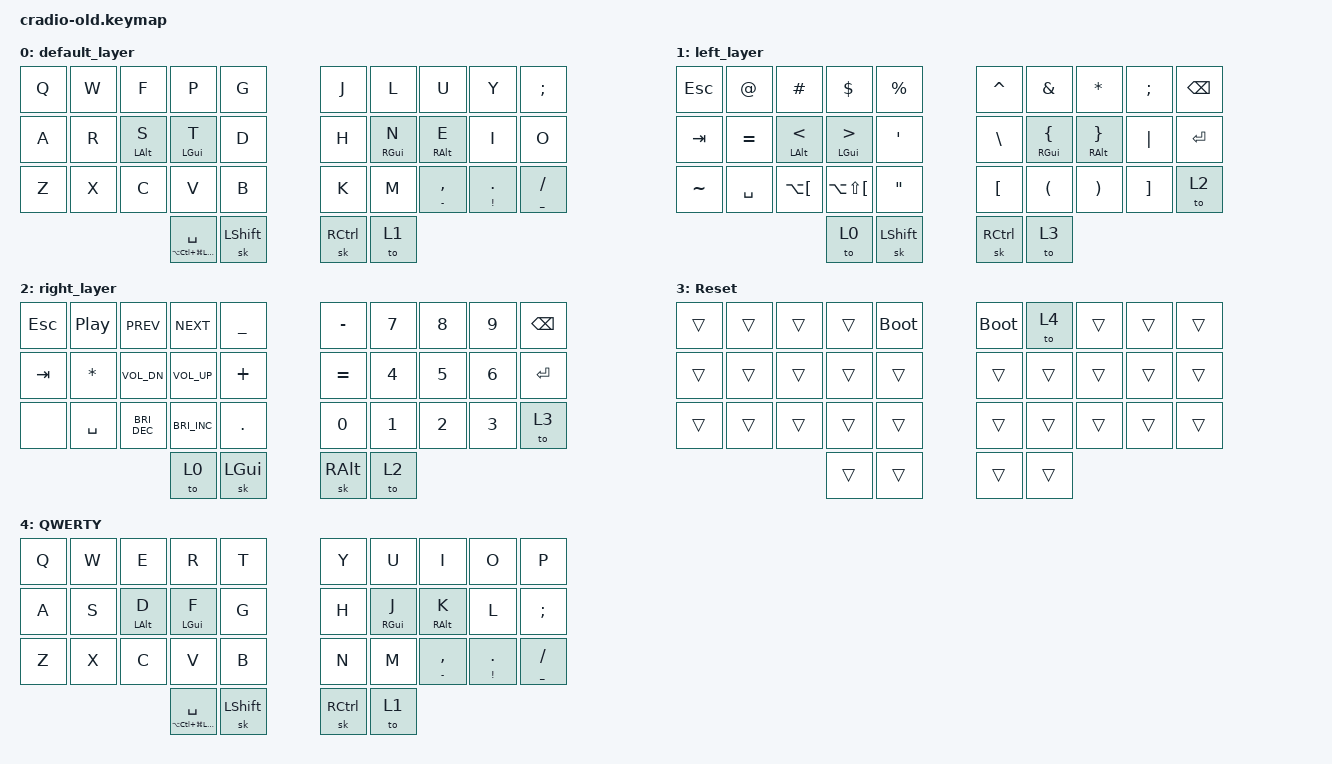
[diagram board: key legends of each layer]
#include <dt-bindings/zmk/mouse.h>
#include <behaviors.dtsi>
#include <dt-bindings/zmk/keys.h>

&mt {
    flavor = "tap-preferred";
    tapping_term_ms = <200>;
};

&mmv {
    time-to-max-speed-ms = <680>;
    acceleration-exponent = <2>;
};

/ {
    behaviors {
        hm: homerow_mods {
            compatible = "zmk,behavior-hold-tap";
            label = "HOMEROW_MODS";
            #binding-cells = <2>;
            tapping-term-ms = <200>;
            quick_tap_ms = <0>;
            flavor = "tap-preferred";
            bindings = <&kp>, <&kp>;
        };

        td: tapdance {
            compatible = "zmk,behavior-hold-tap";
            label = "TAPDANCE";
            #binding-cells = <2>;
            tapping-term-ms = <150>;
            quick_tap_ms = <0>;
            flavor = "tap-preferred";
            bindings = <&kp>, <&kp>;
        };
    };

    keymap {
        compatible = "zmk,keymap";

        default_layer {
            bindings = <
&kp Q  &kp W  &kp F           &kp P                             &kp G             &kp J              &kp L            &kp U            &kp Y         &kp SEMICOLON
&kp A  &kp R  &hm LEFT_ALT S  &hm LEFT_GUI T                    &kp D             &kp H              &hm RIGHT_GUI N  &hm RIGHT_ALT E  &kp I         &kp O
&kp Z  &kp X  &kp C           &kp V                             &kp B             &kp K              &kp M            &td MINUS COMMA  &td EXCL DOT  &td UNDERSCORE SLASH
                              &mt LA(LC(LG(LEFT_SHIFT))) SPACE  &sk LEFT_SHIFT    &sk RIGHT_CONTROL  &to 1
            >;
        };

        left_layer {
            bindings = <
&kp ESC    &kp AT_SIGN  &kp HASH         &kp DLLR          &kp PRCNT     &kp CARET          &kp AMPS            &kp STAR            &kp SEMI  &kp BACKSPACE
&kp TAB    &kp EQUAL    &hm LEFT_ALT LT  &hm LEFT_GUI GT   &kp SQT       &kp BSLH           &hm RIGHT_GUI LBRC  &hm RIGHT_ALT RBRC  &kp PIPE  &kp ENTER
&kp TILDE  &kp SPACE    &kp LA(LBKT)     &kp LA(LS(LBKT))  &kp DQT       &kp LBKT           &kp LPAR            &kp RPAR            &kp RBKT  &to 2
                                         &to 0             &sk LSHIFT    &sk RIGHT_CONTROL  &to 3
            >;
        };

        right_layer {
            bindings = <
&kp ESC  &kp C_PP      &kp C_PREV            &kp C_NEXT            &kp UNDER    &kp MINUS  &kp N7  &kp N8  &kp N9  &kp BACKSPACE
&kp TAB  &kp ASTERISK  &kp C_VOL_DN          &kp C_VOL_UP          &kp PLUS     &kp EQUAL  &kp N4  &kp N5  &kp N6  &kp ENTER
&none    &kp SPACE     &kp C_BRIGHTNESS_DEC  &kp C_BRIGHTNESS_INC  &kp DOT      &kp N0     &kp N1  &kp N2  &kp N3  &to 3
                                             &to 0                 &sk LGUI     &sk RALT   &to 2
            >;
        };

        Reset {
            bindings = <
&trans  &trans  &trans  &trans  &bootloader    &bootloader  &to 4  &trans  &trans  &trans
&trans  &trans  &trans  &trans  &trans         &trans       &trans  &trans  &trans  &trans
&trans  &trans  &trans  &trans  &trans         &trans       &trans  &trans  &trans  &trans
                        &trans  &trans         &trans       &trans
            >;
        };

       QWERTY {
            bindings = <
&kp Q  &kp W  &kp E          &kp R                              &kp T             &kp Y              &kp U            &kp I            &kp O         &kp P
&kp A  &kp S  &hm LEFT_ALT D  &hm LEFT_GUI F                    &kp G             &kp H              &hm RIGHT_GUI J  &hm RIGHT_ALT K  &kp L       &kp SEMICOLON
&kp Z  &kp X  &kp C           &kp V                             &kp B             &kp N              &kp M            &td MINUS COMMA  &td EXCL DOT  &td UNDERSCORE SLASH
                              &mt LA(LC(LG(LEFT_SHIFT))) SPACE  &sk LEFT_SHIFT    &sk RIGHT_CONTROL  &to 1
            >;
        };
    };
};
